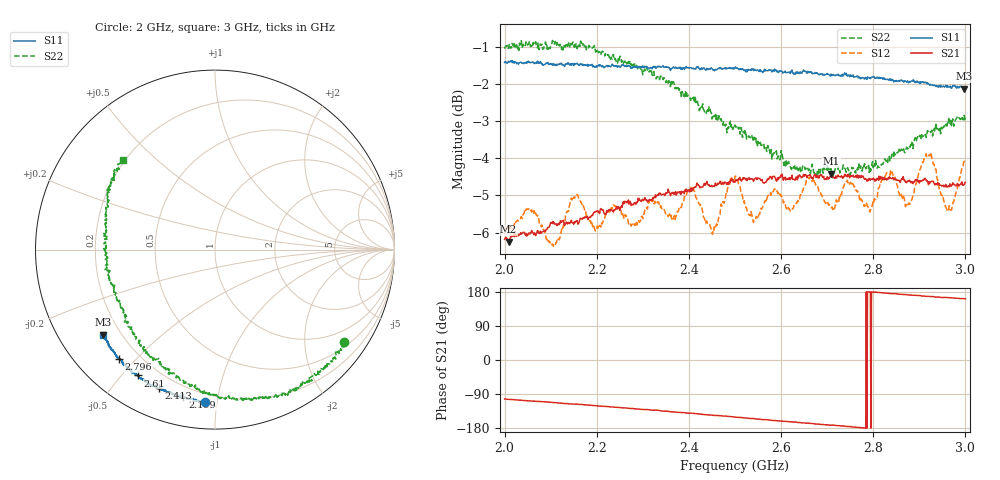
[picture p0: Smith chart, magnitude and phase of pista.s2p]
!Agilent Technologies,E8364A,US41440144,A.06.04.32
!Agilent E8364A: A.06.04.32
!Date: Friday, February 02, 2018 16:05:02
!Correction: S11(Full 2 Port(1,2)) S21(Full 2 Port(1,2)) S12(Full 2 Port(1,2)) S22(Full 2 Port(1,2))
!S2P File: Measurements: S11, S21, S12, S22:
# Hz S  dB  R 50
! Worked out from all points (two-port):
!   801 points, 2 GHz to 3 GHz, reference 50 ohm
!   highest |S21| = -4.41 dB at 2.709 GHz (marker M1); lowest = -6.2 dB at 2.009 GHz (marker M2)
!   |S21| within 3 dB of the highest: start of sweep to end of sweep
!   lowest |S11| = -2.1 dB at 2.998 GHz (marker M3), VSWR 8.21, Z = 6.77 - j16.6 ohm
!   |S11| at or under -10 dB: nowhere
!   |S22| runs from -4.5 to -0.8 dB; largest |S21 - S12| = 0.15
!   S11 on the Smith chart (normalised r, x): 2 GHz: 0.15, -0.93; 2.199 GHz: 0.14, -0.80; 2.413 GHz: 0.13, -0.67; 2.61 GHz: 0.13, -0.55; 2.796 GHz: 0.13, -0.45; 3 GHz: 0.13, -0.33
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2e9  -1.42 -93.7  -6.19 -103.0  -5.86 -103.1  -1.05 -35.6
2.00875e9  -1.39 -94.2  -6.25 -103.8  -5.84 -103.8  -1.05 -37.1
2.0775e9  -1.40 -97.4  -5.97 -109.8  -5.80 -114.6  -0.92 -49.1
2.12625e9  -1.49 -99.0  -5.71 -114.5  -5.88 -112.0  -1.09 -57.4
2.1675e9  -1.47 -100.9  -5.63 -117.4  -5.24 -122.1  -0.90 -63.2
2.19875e9  -1.51 -102.2  -5.44 -120.7  -5.96 -122.3  -1.12 -67.5
2.33375e9  -1.54 -108.1  -5.00 -132.7  -5.17 -135.3  -1.84 -90.0
2.4125e9  -1.59 -112.1  -4.77 -141.5  -4.90 -143.2  -2.47 -102.9
2.46125e9  -1.61 -114.0  -4.71 -146.9  -5.80 -142.6  -2.97 -112.8
2.5e9  -1.56 -116.2  -4.65 -150.6  -4.49 -150.5  -3.11 -121.2
2.61e9  -1.70 -121.6  -4.59 -161.9  -5.33 -159.2  -4.21 -143.8
2.6675e9  -1.71 -124.7  -4.53 -167.3  -4.62 -163.7  -4.16 -157.4
2.70875e9  -1.73 -126.8  -4.41 -171.9  -5.31 -167.3  -4.28 -167.4
2.79625e9  -1.82 -131.2  -4.57 179.6  -5.35 -171.9  -4.26 173.3
2.83375e9  -1.89 -133.5  -4.56 175.5  -4.42 -177.0  -4.02 165.2
2.87375e9  -1.93 -135.2  -4.62 172.0  -5.29 -179.6  -3.71 156.8
2.895e9  -1.92 -136.7  -4.57 169.9  -4.56 -177.9  -3.44 152.8
2.92e9  -1.99 -138.3  -4.71 168.2  -3.94 175.1  -3.26 149.4
2.94e9  -2.06 -139.1  -4.66 166.1  -4.60 169.2  -3.21 145.9
2.96625e9  -2.06 -140.4  -4.69 164.2  -5.37 172.2  -3.01 141.5
2.9975e9  -2.13 -142.7  -4.71 161.4  -4.08 174.6  -2.84 136.3
3e9  -2.09 -142.6  -4.65 161.5  -4.03 173.3  -2.91 135.9
